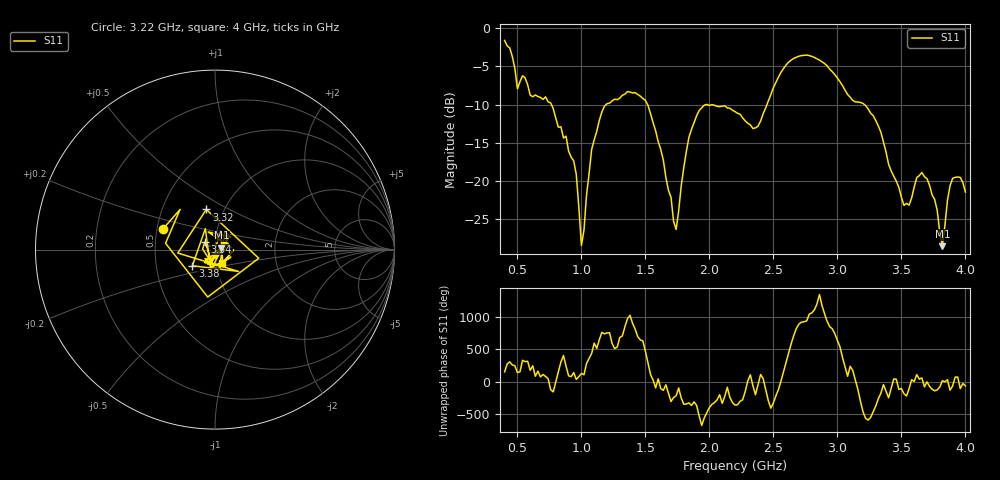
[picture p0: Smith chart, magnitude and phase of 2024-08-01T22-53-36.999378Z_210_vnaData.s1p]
!Created with skrf (http://scikit-rf.org).
# Hz S RI R 50.0
!freq ReS11 ImS11
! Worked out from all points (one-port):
!   181 points, 400 MHz to 4 GHz, reference 50 ohm
!   lowest |S11| = -28.5 dB at 3.82 GHz (marker M1), VSWR 1.08, Z = 53.7 + j1.18 ohm
!   |S11| at or under -10 dB: 1.517 GHz to 1.976 GHz (458.7 MHz wide, 26.3 % of centre); 1.983 GHz to 2.45 GHz (466.9 MHz wide, 21.1 % of centre); 3.211 GHz to end of sweep (the widest 3 of 4)
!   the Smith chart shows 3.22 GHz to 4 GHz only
!   S11 on the Smith chart (normalised r, x): 3.22 GHz: 0.54, +0.14; 3.32 GHz: 0.82, +0.39; 3.38 GHz: 0.77, -0.14; 3.54 GHz: 0.89, +0.08; 4 GHz: 1.07, -0.16
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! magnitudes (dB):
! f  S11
! 400 MHz  -1.6
! 500 MHz  -7.9
! 720 MHz  -9.0
! 860 MHz  -14.4
! 960 MHz  -19.2
! 1 GHz  -28.4
! 1.08 GHz  -15.9
! 1.18 GHz  -10.2
! 1.3 GHz  -9.2
! 1.52 GHz  -10.1
! 1.72 GHz  -25.3
! 1.76 GHz  -23.9
! 1.84 GHz  -14.3
! 1.92 GHz  -10.8
! 2.2 GHz  -10.9
! 2.38 GHz  -12.8
! 2.66 GHz  -3.9
! 3.1 GHz  -9.0
! 3.22 GHz  -10.1
! 3.32 GHz  -12.8
! 3.38 GHz  -16.2
! 3.54 GHz  -22.9
! 3.56 GHz  -23.2
! 3.62 GHz  -19.6
! 3.7 GHz  -19.7
! 3.82 GHz  -28.5
! 3.9 GHz  -19.7
! 4 GHz  -21.5
